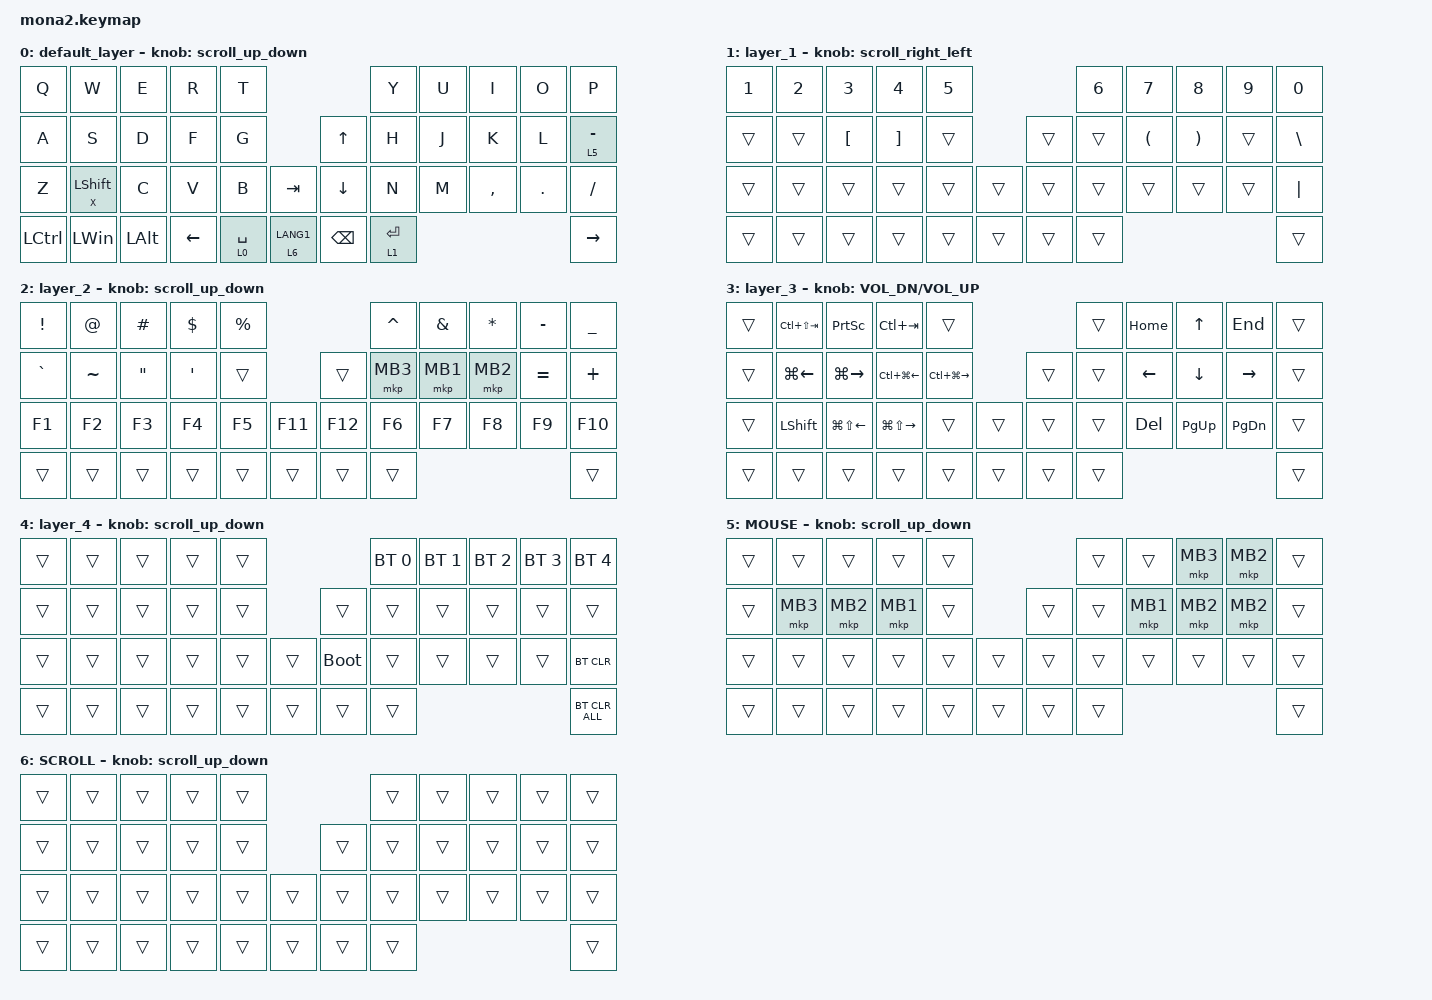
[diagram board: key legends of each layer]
#include <input/processors.dtsi>
#include <dt-bindings/zmk/input_transform.h>
#include <zephyr/dt-bindings/input/input-event-codes.h>
#include <behaviors.dtsi>
#include <dt-bindings/zmk/bt.h>
#include <dt-bindings/zmk/keys.h>
#include <dt-bindings/zmk/pointing.h>

#define ZMK_POINTING_DEFAULT_SCRL_VAL 100
#define MOUSE 5
#define SCROLL 6

&mt {
    flavor = "balanced";
    quick-tap-ms = <0>;
};

&lt {
    quick-tap-ms = <300>;
    flavor = "balanced";
};

/ {
    combos {
        compatible = "zmk,combos";

        layer4_ESC {
            bindings = <&lt 4 ESC>;
            key-positions = <39 38>;
        };

        Bluetooth0 {
            bindings = <&bt BT_SEL 0>;
            key-positions = <5 6>;
        };

        Bluetooth1 {
            bindings = <&bt BT_SEL 1>;
            key-positions = <16 17>;
        };

        Bluetooth2 {
            bindings = <&bt BT_SEL 2>;
            key-positions = <28 29>;
        };

        Bluetoothallclear {
            bindings = <&bt BT_CLR_ALL>;
            key-positions = <6 7>;
        };

        kana {
            bindings = <&kp LANG2>;
            key-positions = <37 38>;
        };
    };

    macros {
        to_layer_0: to_layer_0 {
            compatible = "zmk,behavior-macro-one-param";
            #binding-cells = <1>;
            bindings = <&to 0 &macro_param_1to1 &kp MACRO_PLACEHOLDER>;
            label = "TO_LAYER_0";
        };
    };

    behaviors {
        lt_to_layer_0: lt_to_layer_0 {
            compatible = "zmk,behavior-hold-tap";
            label = "LAYER_TAP_TO_0";
            bindings = <&mo>, <&to_layer_0>;

            #binding-cells = <2>;
            tapping-term-ms = <200>;
        };

        scroll_up_down: mouse_wheel_up_down {
            compatible = "zmk,behavior-sensor-rotate";
            #sensor-binding-cells = <0>;
            bindings = <&msc SCRL_DOWN>, <&msc SCRL_UP>;

            tap-ms = <20>;
        };

        scroll_right_left: mouse_wheel_right_left {
            compatible = "zmk,behavior-sensor-rotate";
            #sensor-binding-cells = <0>;
            bindings = <&msc SCRL_LEFT>, <&msc SCRL_RIGHT>;

            tap-ms = <20>;
        };
    };

    keymap {
        compatible = "zmk,keymap";

        default_layer {
            bindings = <
&kp Q      &kp W         &kp E         &kp R           &kp T                                       &kp Y        &kp U  &kp I      &kp O    &kp P
&kp A      &kp S         &kp D         &kp F           &kp G                       &kp UP_ARROW    &kp H        &kp J  &kp K      &kp L    &lt 5 MINUS
&kp Z      &mt X LSHFT   &kp C         &kp V           &kp B        &kp TAB        &kp DOWN_ARROW  &kp N        &kp M  &kp COMMA  &kp DOT  &kp SLASH
&kp LCTRL  &kp LEFT_WIN  &kp LEFT_ALT  &kp LEFT_ARROW  &lt 0 SPACE  &lt 6 LANG1    &kp BACKSPACE   &lt 1 ENTER                             &kp RIGHT_ARROW
            >;

            sensor-bindings = <&scroll_up_down>;
        };

        layer_1 {
            bindings = <
&kp NUMBER_1  &kp NUMBER_2  &kp NUMBER_3      &kp NUMBER_4       &kp NUMBER_5                    &kp NUMBER_6  &kp NUMBER_7          &kp NUMBER_8           &kp NUMBER_9  &kp NUMBER_0
&trans        &trans        &kp LEFT_BRACKET  &kp RIGHT_BRACKET  &trans                  &trans  &trans        &kp LEFT_PARENTHESIS  &kp RIGHT_PARENTHESIS  &trans        &kp BACKSLASH
&trans        &trans        &trans            &trans             &trans        &trans    &trans  &trans        &trans                &trans                 &trans        &kp PIPE
&trans        &trans        &trans            &trans             &trans        &trans    &trans  &trans                                                                   &trans
            >;

            sensor-bindings = <&scroll_right_left>;
        };

        layer_2 {
            bindings = <
&kp EXCLAMATION  &kp AT_SIGN  &kp POUND          &kp DOLLAR  &kp PERCENT                      &kp CARET  &kp AMPERSAND  &kp ASTERISK  &kp MINUS  &kp UNDERSCORE
&kp GRAVE        &kp TILDE    &kp DOUBLE_QUOTES  &kp SQT     &trans                  &trans   &mkp MB3   &mkp MB1       &mkp MB2      &kp EQUAL  &kp PLUS
&kp F1           &kp F2       &kp F3             &kp F4      &kp F5       &kp F11    &kp F12  &kp F6     &kp F7         &kp F8        &kp F9     &kp F10
&trans           &trans       &trans             &trans      &trans       &trans     &trans   &trans                                             &trans
            >;

            sensor-bindings = <&scroll_up_down>;
        };

        layer_3 {
            bindings = <
&trans  &kp LC(LS(TAB))     &kp PRINTSCREEN         &kp LC(TAB)              &trans                                     &trans  &kp HOME        &kp UP_ARROW    &kp END          &trans
&trans  &kp LG(LEFT_ARROW)  &kp LG(RIGHT_ARROW)     &kp LC(LG(LEFT_ARROW))   &kp LC(LG(RIGHT_ARROW))            &trans  &trans  &kp LEFT_ARROW  &kp DOWN_ARROW  &kp RIGHT_ARROW  &trans
&trans  &kp LEFT_SHIFT      &kp LG(LS(LEFT_ARROW))  &kp LG(LS(RIGHT_ARROW))  &trans                   &trans    &trans  &trans  &kp DELETE      &kp PAGE_UP     &kp PAGE_DOWN    &trans
&trans  &trans              &trans                  &trans                   &trans                   &trans    &trans  &trans                                                   &trans
            >;

            sensor-bindings = <&inc_dec_kp C_VOL_DN C_VOL_UP>;
        };

        layer_4 {
            bindings = <
&trans  &trans  &trans  &trans  &trans                         &bt BT_SEL 0  &bt BT_SEL 1  &bt BT_SEL 2  &bt BT_SEL 3  &bt BT_SEL 4
&trans  &trans  &trans  &trans  &trans            &trans       &trans        &trans        &trans        &trans        &trans
&trans  &trans  &trans  &trans  &trans  &trans    &bootloader  &trans        &trans        &trans        &trans        &bt BT_CLR
&trans  &trans  &trans  &trans  &trans  &trans    &trans       &trans                                                  &bt BT_CLR_ALL
            >;

            sensor-bindings = <&scroll_up_down>;
        };

        MOUSE {
            bindings = <
&trans  &trans    &trans    &trans    &trans                    &trans  &trans    &mkp MB3  &mkp MB2  &trans
&trans  &mkp MB3  &mkp MB2  &mkp MB1  &trans            &trans  &trans  &mkp MB1  &mkp MB2  &mkp MB2  &trans
&trans  &trans    &trans    &trans    &trans  &trans    &trans  &trans  &trans    &trans    &trans    &trans
&trans  &trans    &trans    &trans    &trans  &trans    &trans  &trans                                &trans
            >;

            sensor-bindings = <&scroll_up_down>;
        };

        SCROLL {
            bindings = <
&trans  &trans  &trans  &trans  &trans                    &trans  &trans  &trans  &trans  &trans
&trans  &trans  &trans  &trans  &trans            &trans  &trans  &trans  &trans  &trans  &trans
&trans  &trans  &trans  &trans  &trans  &trans    &trans  &trans  &trans  &trans  &trans  &trans
&trans  &trans  &trans  &trans  &trans  &trans    &trans  &trans                          &trans
            >;

            sensor-bindings = <&scroll_up_down>;
        };
    };
};
